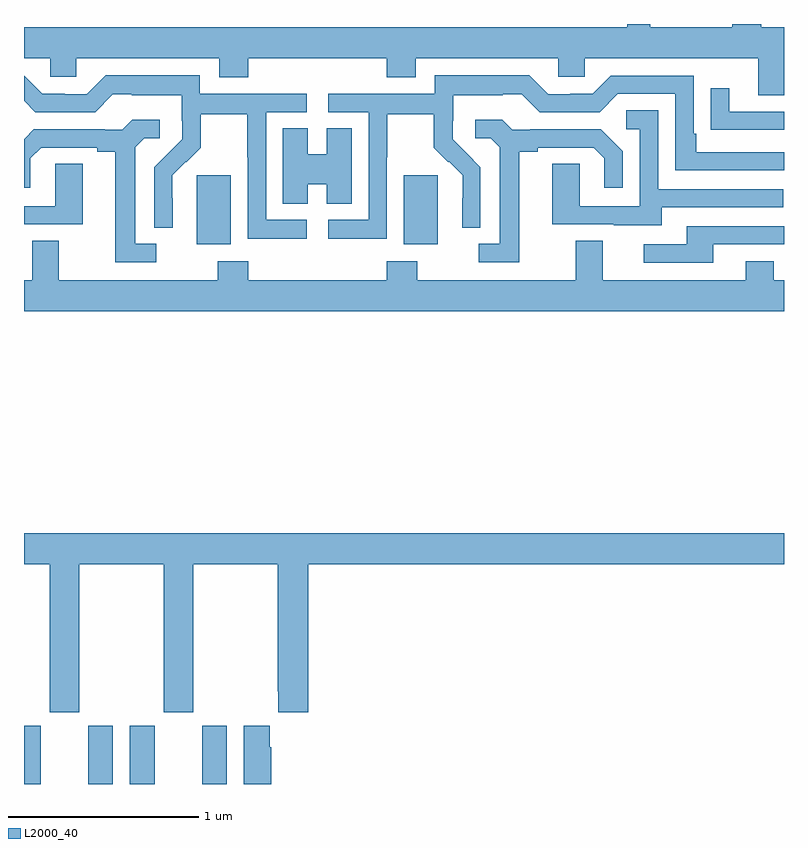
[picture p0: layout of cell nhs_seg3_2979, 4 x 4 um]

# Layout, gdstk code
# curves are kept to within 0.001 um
import gdstk
lib = gdstk.Library(unit=1e-6, precision=1e-09)
def R(c, l, rs):  # rectangles x0, y0, x1, y1
    for r in rs: c.add(gdstk.rectangle(r[:2], r[2:], *l))
def P(c, l, *ps):  # polygons
    for p in ps: c.add(gdstk.Polygon(p, *l))
L2000_40 = (2000, 40)

nhs_seg3_2979 = lib.new_cell('nhs_seg3_2979')
R(nhs_seg3_2979, L2000_40, [(265,726.4,265.087,726.706), (265.337,726.4,265.468,726.706), (265.556,726.4,265.687,726.706), (265.937,726.4,266.068,726.706), (265.91,729.242,266.089,729.603), (266.999,729.242,267.178,729.603)])
P(nhs_seg3_2979, L2000_40, [(268.175,730.4),(268.175,730.384),(265,730.384),(265,730.22),(265.137,730.22),(265.137,730.122),(265.275,730.122),(265.275,730.22),(266.027,730.22),(266.027,730.121),(266.18,730.121),(266.18,730.22),(266.909,730.22),(266.909,730.121),(267.061,730.121),(267.061,730.22),(267.813,730.22),(267.813,730.122),(267.951,730.122),(267.951,730.22),(268.865,730.22),(268.865,730.026),(269,730.026),(269,730.384),(268.88,730.384),(268.88,730.4),(268.727,730.4),(268.727,730.384),(268.297,730.384),(268.297,730.4)],
  [(266.91,729.7),(266.913,729.7),(266.913,729.924),(267.157,729.924),(267.157,729.749),(267.234,729.672),(267.237,729.675),(267.308,729.605),(267.308,729.482),(267.306,729.482),(267.306,729.328),(267.402,729.328),(267.402,729.646),(267.256,729.794),(267.256,729.891),(267.258,729.891),(267.258,730.025),(267.521,730.025),(267.521,730.029),(267.621,730.029),(267.714,729.936),(268.029,729.936),(268.125,730.032),(268.428,730.032),(268.428,729.63),(269,729.63),(269,729.726),(268.537,729.726),(268.537,729.823),(268.524,729.823),(268.524,730.128),(268.089,730.128),(267.993,730.032),(267.875,730.032),(267.875,730.029),(267.759,730.029),(267.659,730.129),(267.162,730.129),(267.162,730.032),(266.601,730.032),(266.601,729.936),(266.814,729.936),(266.814,729.369),(266.601,729.369),(266.601,729.271),(266.91,729.271)],
  [(266.488,729.369),(266.274,729.369),(266.274,729.936),(266.488,729.936),(266.488,730.032),(265.926,730.032),(265.926,730.129),(265.429,730.129),(265.329,730.029),(265.214,730.029),(265.214,730.032),(265.095,730.032),(265,730.127),(265,729.995),(265.059,729.936),(265.374,729.936),(265.467,730.029),(265.567,730.029),(265.567,730.025),(265.83,730.025),(265.83,729.891),(265.832,729.891),(265.832,729.794),(265.686,729.646),(265.686,729.328),(265.782,729.328),(265.781,729.605),(265.851,729.675),(265.854,729.672),(265.931,729.749),(265.931,729.924),(266.176,729.924),(266.176,729.7),(266.178,729.7),(266.178,729.271),(266.488,729.271)],
  [(269,729.939),(268.711,729.939),(268.711,730.063),(268.615,730.063),(268.615,729.844),(268.717,729.844),(268.717,729.843),(269,729.843)],
  [(268.357,729.435),(268.997,729.435),(268.997,729.531),(268.338,729.531),(268.338,729.947),(268.17,729.947),(268.17,729.846),(268.242,729.846),(268.242,729.441),(267.924,729.441),(267.924,729.665),(267.779,729.665),(267.779,729.345),(268.103,729.345),(268.103,729.341),(268.357,729.341)],
  [(265.696,729.243),(265.585,729.243),(265.585,729.751),(265.632,729.798),(265.714,729.798),(265.714,729.895),(265.57,729.895),(265.518,729.843),(265.424,729.843),(265.424,729.846),(265.052,729.846),(265,729.794),(265,729.537),(265.033,729.537),(265.033,729.693),(265.09,729.75),(265.385,729.75),(265.385,729.728),(265.481,729.728),(265.481,729.147),(265.696,729.147)],
  [(267.607,729.728),(267.703,729.728),(267.703,729.75),(267.998,729.75),(268.055,729.693),(268.055,729.537),(268.152,729.537),(268.152,729.73),(268.036,729.846),(267.664,729.846),(267.664,729.843),(267.57,729.843),(267.518,729.895),(267.375,729.895),(267.375,729.798),(267.456,729.798),(267.503,729.751),(267.503,729.243),(267.393,729.243),(267.393,729.147),(267.607,729.147)],
  [(266.494,729.557),(266.594,729.557),(266.594,729.454),(266.725,729.454),(266.725,729.851),(266.594,729.851),(266.594,729.715),(266.494,729.715),(266.494,729.851),(266.363,729.851),(266.363,729.454),(266.494,729.454)],
  [(265.309,729.665),(265.164,729.665),(265.164,729.441),(265,729.441),(265,729.345),(265.309,729.345)],
  [(268.627,729.24),(269,729.24),(269,729.336),(268.487,729.336),(268.487,729.24),(268.263,729.24),(268.263,729.144),(268.627,729.144)],
  [(269,729.052),(268.947,729.052),(268.947,729.151),(268.799,729.151),(268.799,729.052),(268.045,729.052),(268.045,729.26),(267.905,729.26),(267.905,729.052),(267.069,729.052),(267.069,729.151),(266.909,729.151),(266.909,729.052),(266.18,729.052),(266.18,729.151),(266.02,729.151),(266.02,729.052),(265.183,729.052),(265.183,729.26),(265.043,729.26),(265.043,729.052),(265,729.052),(265,728.888),(269,728.888)],
  [(265.29,727.556),(265.735,727.556),(265.735,726.777),(265.89,726.777),(265.89,727.556),(266.335,727.556),(266.335,726.889),(266.339,726.889),(266.339,726.777),(266.495,726.777),(266.495,727.556),(269,727.556),(269,727.72),(265,727.72),(265,727.556),(265.135,727.556),(265.135,726.777),(265.29,726.777)],
  [(266.3,726.593),(266.293,726.593),(266.293,726.706),(266.156,726.706),(266.156,726.4),(266.3,726.4)])

lib.write_gds('nhs_seg3_2979.gds')
